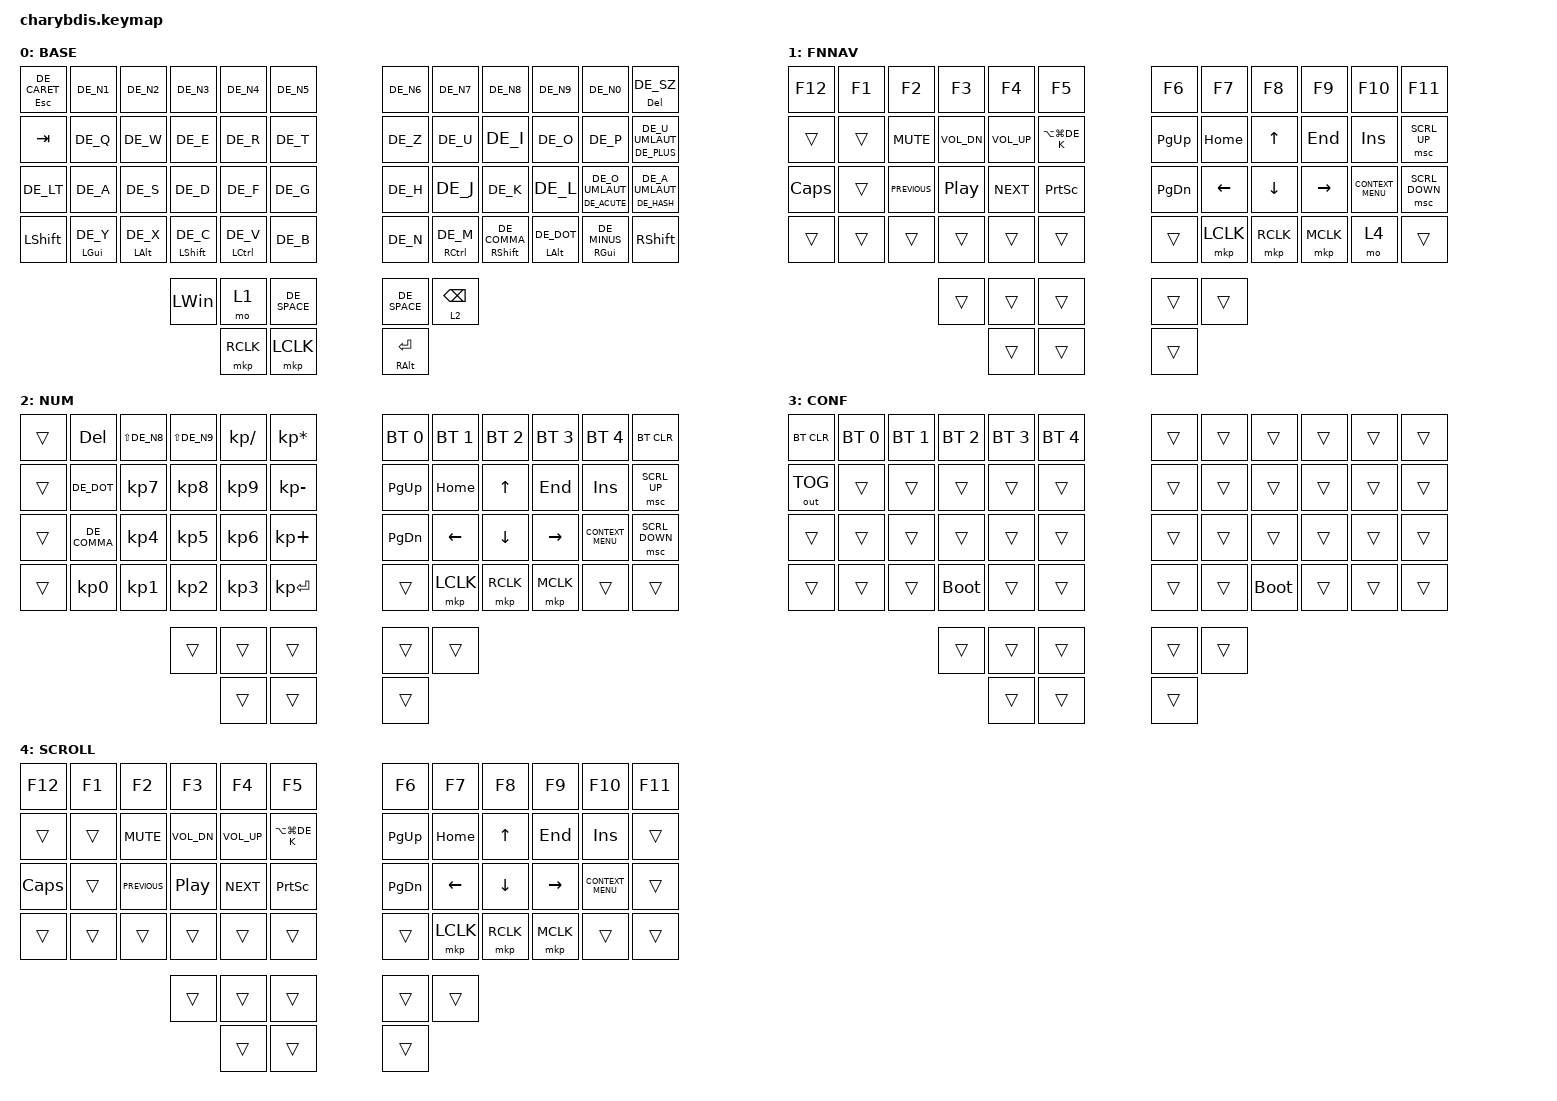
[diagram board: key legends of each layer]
#include "keys_de.h"
#include <dt-bindings/zmk/mouse.h>
#include <behaviors.dtsi>
#include <dt-bindings/zmk/bt.h>
#include <dt-bindings/zmk/keys.h>
#include <dt-bindings/zmk/outputs.h>
#include <dt-bindings/zmk/pointing.h>

/ {
    combos { compatible = "zmk,combos"; };

    behaviors {
        HMRShiftR: HMRShiftR {
            compatible = "zmk,behavior-hold-tap";
            label = "HMRSHIFTR";
            bindings = <&kp>, <&kp>;

            #binding-cells = <2>;
            tapping-term-ms = <200>;
            flavor = "balanced";
            hold-trigger-key-positions = <49 54 28 17 0 1 2 3 4 5 12 13 14 15 16 17 24 25 26 27 28 29 36 37 38 39 40 41 48 49 50 53 54>;
        };

        HMRShiftL: HMRShiftL {
            compatible = "zmk,behavior-hold-tap";
            label = "HMRSHIFTL";
            bindings = <&kp>, <&kp>;

            #binding-cells = <2>;
            tapping-term-ms = <200>;
            flavor = "balanced";
            hold-trigger-key-positions = <18 33 21 6 7 8 9 10 11 18 19 20 21 22 23 30 31 32 33 34 35 42 43 44 45 46 47 51 52 55>;
        };

        HMRR: HMRR {
            compatible = "zmk,behavior-hold-tap";
            label = "HMRR";
            bindings = <&kp>, <&kp>;

            #binding-cells = <2>;
            tapping-term-ms = <200>;
            flavor = "tap-preferred";
            hold-trigger-key-positions = <49 54 28 17 0 1 2 3 4 5 12 13 14 15 16 17 24 25 26 27 28 29 36 37 38 39 40 41 48 49 50 53 54>;
        };

        HMRL: HMRL {
            compatible = "zmk,behavior-hold-tap";
            label = "HMRL";
            bindings = <&kp>, <&kp>;

            #binding-cells = <2>;
            tapping-term-ms = <200>;
            flavor = "tap-preferred";
            hold-trigger-key-positions = <18 33 21 6 7 8 9 10 11 18 19 20 21 22 23 30 31 32 33 34 35 42 43 44 45 46 47 51 52 55>;
        };

        lt2: lt2 {
            compatible = "zmk,behavior-hold-tap";
            label = "LT2";
            bindings = <&mo>, <&kp>;

            #binding-cells = <2>;
            tapping-term-ms = <200>;
            quick-tap-ms = <180>;
            flavor = "tap-preferred";
        };
    };

    keymap {
        compatible = "zmk,keymap";

        BASE {
            bindings = <
&mt ESC DE_CARET  &kp DE_N1            &kp DE_N2            &kp DE_N3                   &kp DE_N4         &kp DE_N5       &kp DE_N6            &kp DE_N7         &kp DE_N8                        &kp DE_N9              &kp DE_N0                 &mt DELETE DE_SZ
&kp TAB           &kp DE_Q             &kp DE_W             &kp DE_E                    &kp DE_R          &kp DE_T        &kp DE_Z             &kp DE_U          &kp DE_I                         &kp DE_O               &kp DE_P                  &mt DE_PLUS DE_U_UMLAUT
&kp DE_LT         &kp DE_A             &kp DE_S             &kp DE_D                    &kp DE_F          &kp DE_G        &kp DE_H             &kp DE_J          &kp DE_K                         &kp DE_L               &mt DE_ACUTE DE_O_UMLAUT  &mt DE_HASH DE_A_UMLAUT
&kp LEFT_SHIFT    &HMRL LEFT_GUI DE_Y  &HMRL LEFT_ALT DE_X  &HMRShiftL LEFT_SHIFT DE_C  &HMRL LCTRL DE_V  &kp DE_B        &kp DE_N             &HMRR RCTRL DE_M  &HMRShiftR RIGHT_SHIFT DE_COMMA  &HMRR LEFT_ALT DE_DOT  &HMRR RIGHT_GUI DE_MINUS  &kp RIGHT_SHIFT
                                                            &kp LEFT_WIN                &mo 1             &kp DE_SPACE    &kp DE_SPACE         &lt2 2 BACKSPACE
                                                                                        &mkp RCLK         &mkp LCLK       &mt RIGHT_ALT ENTER
            >;

            label = "BASE";
        };

        FNNAV {
            bindings = <
&kp F12       &kp F1  &kp F2          &kp F3            &kp F4        &kp F5              &kp F6         &kp F7     &kp F8     &kp F9     &kp F10             &kp F11
&trans        &trans  &kp C_MUTE      &kp C_VOL_DN      &kp C_VOL_UP  &kp LA(LG(DE_K))    &kp PAGE_UP    &kp HOME   &kp UP     &kp END    &kp INSERT          &msc SCRL_UP
&kp CAPSLOCK  &trans  &kp C_PREVIOUS  &kp C_PLAY_PAUSE  &kp C_NEXT    &kp PRINTSCREEN     &kp PAGE_DOWN  &kp LEFT   &kp DOWN   &kp RIGHT  &kp K_CONTEXT_MENU  &msc SCRL_DOWN
&trans        &trans  &trans          &trans            &trans        &trans              &trans         &mkp LCLK  &mkp RCLK  &mkp MCLK  &mo 4               &trans
                                      &trans            &trans        &trans              &trans         &trans
                                                        &trans        &trans              &trans
            >;

            label = "FNNAV";
        };

        NUM {
            bindings = <
&trans  &kp DELETE       &kp LS(DE_N8)    &kp LS(DE_N9)    &kp KP_SLASH     &kp KP_MULTIPLY    &bt BT_SEL 0   &bt BT_SEL 1  &bt BT_SEL 2  &bt BT_SEL 3  &bt BT_SEL 4        &bt BT_CLR
&trans  &kp DE_DOT       &kp KP_NUMBER_7  &kp KP_NUMBER_8  &kp KP_NUMBER_9  &kp KP_SUBTRACT    &kp PAGE_UP    &kp HOME      &kp UP        &kp END       &kp INSERT          &msc SCRL_UP
&trans  &kp DE_COMMA     &kp KP_NUMBER_4  &kp KP_NUMBER_5  &kp KP_NUMBER_6  &kp KP_PLUS        &kp PAGE_DOWN  &kp LEFT      &kp DOWN      &kp RIGHT     &kp K_CONTEXT_MENU  &msc SCRL_DOWN
&trans  &kp KP_NUMBER_0  &kp KP_NUMBER_1  &kp KP_NUMBER_2  &kp KP_NUMBER_3  &kp KP_ENTER       &trans         &mkp LCLK     &mkp RCLK     &mkp MCLK     &trans              &trans
                                          &trans           &trans           &trans             &trans         &trans
                                                           &trans           &trans             &trans
            >;

            label = "NUM";
        };

        CONF {
            bindings = <
&bt BT_CLR    &bt BT_SEL 0  &bt BT_SEL 1  &bt BT_SEL 2  &bt BT_SEL 3  &bt BT_SEL 4    &trans  &trans  &trans       &trans  &trans  &trans
&out OUT_TOG  &trans        &trans        &trans        &trans        &trans          &trans  &trans  &trans       &trans  &trans  &trans
&trans        &trans        &trans        &trans        &trans        &trans          &trans  &trans  &trans       &trans  &trans  &trans
&trans        &trans        &trans        &bootloader   &trans        &trans          &trans  &trans  &bootloader  &trans  &trans  &trans
                                          &trans        &trans        &trans          &trans  &trans
                                                        &trans        &trans          &trans
            >;

            label = "CONF";
        };

        SCROLL {
            bindings = <
&kp F12       &kp F1  &kp F2          &kp F3            &kp F4        &kp F5              &kp F6         &kp F7     &kp F8     &kp F9     &kp F10             &kp F11
&trans        &trans  &kp C_MUTE      &kp C_VOL_DN      &kp C_VOL_UP  &kp LA(LG(DE_K))    &kp PAGE_UP    &kp HOME   &kp UP     &kp END    &kp INSERT          &trans
&kp CAPSLOCK  &trans  &kp C_PREVIOUS  &kp C_PLAY_PAUSE  &kp C_NEXT    &kp PRINTSCREEN     &kp PAGE_DOWN  &kp LEFT   &kp DOWN   &kp RIGHT  &kp K_CONTEXT_MENU  &trans
&trans        &trans  &trans          &trans            &trans        &trans              &trans         &mkp LCLK  &mkp RCLK  &mkp MCLK  &trans              &trans
                                      &trans            &trans        &trans              &trans         &trans
                                                        &trans        &trans              &trans
            >;

            label = "SCROLL";
        };
    };

    conditional_layers {
        compatible = "zmk,conditional-layers";

        THIRD_LAYER {
            if-layers = <1 2>;
            then-layer = <3>;
        };
    };
};
